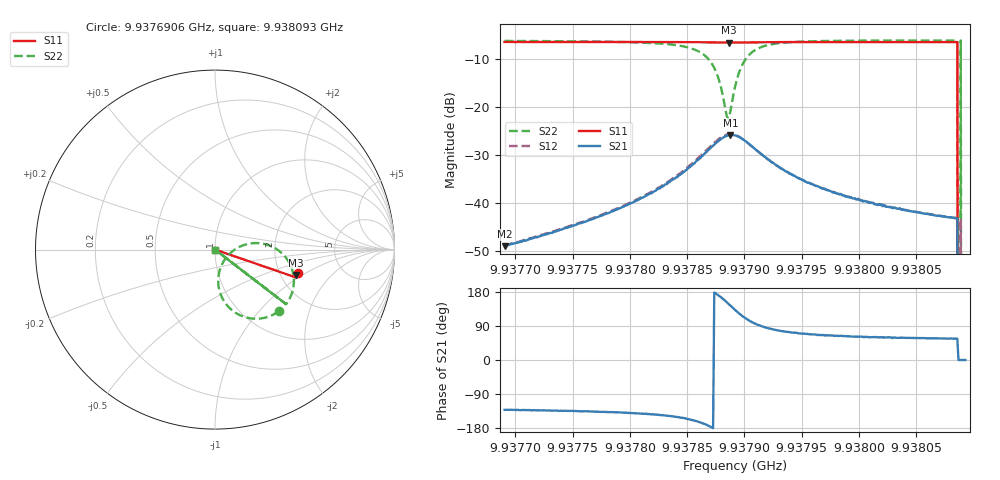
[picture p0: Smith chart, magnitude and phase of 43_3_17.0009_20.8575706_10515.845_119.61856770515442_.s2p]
#  HZ  S  RI  R  50.00
! Rohde & Schwarz Vector Network Analyzer
! Rohde-Schwarz,ZNB20-2Port,1311601062101988,3.16
! Created: UTC 3/20/2024, 10:53:59 PM
! freq[Hz]  re:S11  im:S11  re:S21  im:S21  re:S12  im:S12  re:S22  im:S22
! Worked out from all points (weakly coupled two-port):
!   401 points, 9.9376906 GHz to 9.938093 GHz, reference 50 ohm
!   highest |S21| = -25.74 dB at 9.9378878 GHz (marker M1); lowest = -49.0 dB at 9.9376906 GHz (marker M2)
!   lowest |S11| = -6.5 dB at 9.9378868 GHz (marker M3), VSWR 2.81, Z = 121 - j44.4 ohm
!   |S11| at or under -10 dB: 9.938086 GHz to end of sweep
!   |S22| runs from - to -6.0 dB; largest |S21 - S12| = 0.0069
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9.93769063e9  0.4633 -0.1318  -0.00236 -0.00267  -0.00244 -0.00269  0.3542 -0.3439
9.93775802e9  0.4613 -0.1364  -0.00442 -0.00437  -0.00458 -0.00442  0.3317 -0.3583
9.93782542e9  0.459 -0.1414  -0.0118 -0.00829  -0.012 -0.0081  0.2642 -0.3822
9.93785158e9  0.4573 -0.1435  -0.0215 -0.0095  -0.0226 -0.00924  0.1791 -0.3795
9.93786666e9  0.4554 -0.1443  -0.0335 -0.00555  -0.0353 -0.00453  0.0829 -0.3269
9.93787572e9  0.4539 -0.1438  -0.0427 0.00443  -0.0442 0.00678  0.0243 -0.2265
9.93788376e9  0.4531 -0.1426  -0.0451 0.0213  -0.0452 0.025  0.0391 -0.0821
9.93788678e9  0.453 -0.1419  -0.0428 0.0284  -0.0418 0.0319  0.0746 -0.03
9.93788779e9  0.4531 -0.1416  -0.0415 0.0307  -0.0402 0.034  0.0898 -0.0156
9.93789181e9  0.4539 -0.1409  -0.0343 0.0379  -0.0322 0.0404  0.1618 0.0256
9.93789885e9  0.4552 -0.1404  -0.0191 0.042  -0.0167 0.0433  0.2864 0.0284
9.93790992e9  0.457 -0.1415  -0.00325 0.0361  -0.00179 0.0361  0.397 -0.0472
9.93793104e9  0.4577 -0.1443  0.0053 0.0229  0.00592 0.0226  0.4395 -0.1638
9.93795921e9  0.4573 -0.147  0.00604 0.0146  0.00631 0.0146  0.4319 -0.2313
9.93802661e9  0.4557 -0.1523  0.00457 0.00787  0.00483 0.00779  0.4085 -0.2855
9.93808394e9  0.454 -0.156  0.00384 0.00581  0.00401 0.00583  0.3965 -0.3031
9.93808596e9  0.4541 -0.1562  0.00385 0.00577  0.00399 0.00575  0.3964 -0.3036
9.93808696e9  0 0  0 0  0 0  0 0
9.93808897e9  0 0  0 0  0.00394 0.0057  0.3958 -0.3043
9.93809099e9  0 0  0 0  0 0  0 0
9.93809199e9  0 0  0 0  0 0  0 0
9.938093e9  0 0  0 0  0 0  0 0
